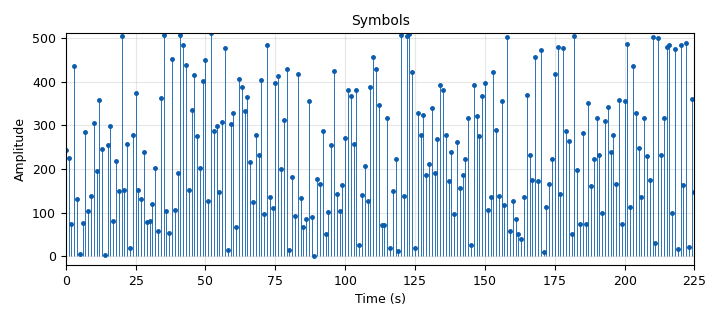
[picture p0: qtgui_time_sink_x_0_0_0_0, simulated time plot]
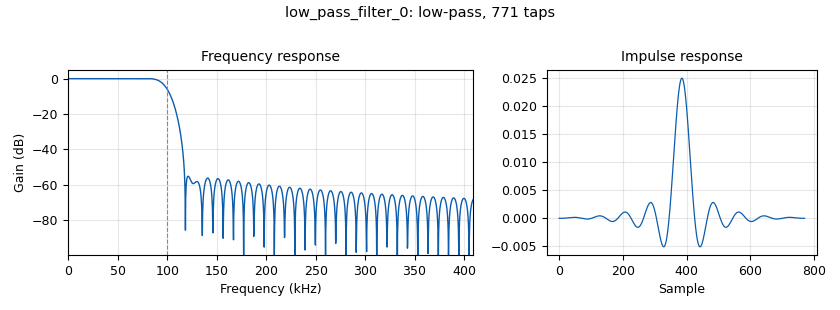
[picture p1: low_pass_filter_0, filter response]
options:
  parameters:
    generate_options: qt_gui
    id: lora_test
    output_language: python
    title: LoRa Test
  states: {}

blocks:
- name: M
  id: variable
  parameters:
    value: 2**SF
  states: {}
- name: RF_samp_rate
  id: variable
  parameters:
    value: 8e6
  states: {}
- name: SF
  id: variable
  parameters:
    value: '9'
  states: {}
- name: T
  id: variable
  parameters:
    value: float(M)/chan_bw
  states: {}
- name: chan_bw
  id: variable
  parameters:
    value: '125000'
  states: {}
- name: chan_margin
  id: variable
  parameters:
    value: '75000'
  states: {}
- name: interp
  id: variable
  parameters:
    value: '2'
  states: {}
- name: n_bytes
  id: variable
  parameters:
    value: '254'
  states: {}
- name: n_syms
  id: variable
  parameters:
    value: int(numpy.ceil((n_bytes*8.0)/SF))
  states: {}
- name: pkt0
  id: variable
  parameters:
    value: numpy.random.randint(0, M, n_syms)
  states: {}
- name: pkt1
  id: variable
  parameters:
    value: numpy.random.randint(0, M, n_syms)
  states: {}
- name: pkt1
  id: variable
  parameters:
    value: numpy.arange(0, n_syms, dtype=numpy.int16)
  states: {state: disabled}
- name: pkt2
  id: variable
  parameters:
    value: numpy.random.randint(0, M, n_syms)
  states: {}
- name: ppm
  id: variable
  parameters:
    value: '10.7'
  states: {}
- name: analog_const_source_x_0
  id: analog_const_source_x
  parameters:
    const: '241'
    type: short
  states: {state: disabled}
- name: analog_noise_source_x_0
  id: analog_noise_source_x
  parameters:
    amp: '0.1'
    noise_type: analog.GR_GAUSSIAN
    seed: '0'
    type: complex
  states: {}
- name: analog_quadrature_demod_cf_0
  id: analog_quadrature_demod_cf
  parameters:
    gain: 1.0/numpy.pi
  states: {}
- name: analog_random_source_x_0
  id: analog_random_source_x
  parameters:
    max: M-1
    min: '0'
    num_samps: 2*n_syms
    repeat: 'False'
    type: short
  states: {state: disabled}
- name: analog_sig_source_x_0
  id: analog_sig_source_x
  parameters:
    amp: '1'
    freq: 28.3/M/64+0.5
    offset: '0'
    phase: '0'
    samp_rate: '1.0'
    type: complex
    waveform: analog.GR_SIN_WAVE
  states: {}
- name: analog_sig_source_x_0_0
  id: analog_sig_source_x
  parameters:
    amp: '0.25'
    freq: '0.0'
    offset: '0'
    phase: '0'
    samp_rate: '1.0'
    type: float
    waveform: analog.GR_SAW_WAVE
  states: {}
- name: blocks_add_xx_0
  id: blocks_add_xx
  parameters:
    type: complex
  states: {}
- name: blocks_complex_to_mag_0
  id: blocks_complex_to_mag
  parameters: {}
  states: {}
- name: blocks_delay_0
  id: blocks_delay
  parameters:
    delay: '10'
    type: complex
  states: {}
- name: blocks_delay_1
  id: blocks_delay
  parameters:
    delay: interp*M
    type: complex
  states: {}
- name: blocks_delay_2
  id: blocks_delay
  parameters:
    delay: '30'
    type: complex
  states: {}
- name: blocks_multiply_const_vxx_0
  id: blocks_multiply_const_vxx
  parameters:
    const: M
    type: float
  states: {}
- name: blocks_multiply_const_vxx_1
  id: blocks_multiply_const_vxx
  parameters:
    const: '1.0'
    type: complex
  states: {}
- name: blocks_multiply_xx_0
  id: blocks_multiply_xx
  parameters:
    type: complex
  states: {}
- name: blocks_multiply_xx_0_0
  id: blocks_multiply_xx
  parameters:
    type: complex
  states: {}
- name: blocks_short_to_float_0
  id: blocks_short_to_float
  parameters:
    scale: '1'
  states: {}
- name: blocks_short_to_float_0_0
  id: blocks_short_to_float
  parameters:
    scale: '1'
  states: {}
- name: blocks_stream_to_tagged_stream_0
  id: blocks_stream_to_tagged_stream
  parameters:
    len_tag_key: packet_len
    packet_len: n_syms
    type: short
  states: {}
- name: blocks_tag_debug_0_0
  id: blocks_tag_debug
  parameters:
    name: Preamble detect
    type: complex
  states: {}
- name: blocks_tag_gate_0
  id: blocks_tag_gate
  parameters:
    propagate_tags: 'False'
    type: complex
  states: {}
- name: blocks_throttle_0
  id: blocks_throttle
  parameters:
    samples_per_second: chan_bw*interp
    type: complex
  states: {}
- name: blocks_vco_c_0
  id: blocks_vco_c
  parameters:
    amplitude: '1.0'
    samp_rate: '1.0'
    sensitivity: 1.0/(2*numpy.pi)
  states: {}
- name: blocks_vector_source_x_0_0
  id: blocks_vector_source_x
  parameters:
    repeat: 'False'
    type: short
    vector: numpy.concatenate((pkt0, pkt1,pkt2)).tolist()
  states: {}
- name: blocks_vector_source_x_0_0_0
  id: blocks_vector_source_x
  parameters:
    repeat: 'True'
    type: short
    vector: (0, M/2)
  states: {state: disabled}
- name: blocks_vector_to_stream_0
  id: blocks_vector_to_stream
  parameters:
    num_items: M
    type: complex
  states: {}
- name: channels_cfo_model_0
  id: channels_cfo_model
  parameters:
    maxdev: 1e3
    seed: '0'
    srate: 125e3
    stdev: '0.1'
  states: {}
- name: channels_distortion_2_gen_0
  id: channels_distortion_2_gen
  parameters:
    beta: '0.3'
  states: {}
- name: channels_iqbal_gen_0
  id: channels_iqbal_gen
  parameters:
    mag: '1.0'
    mode: '1'
    phase: '0.3'
  states: {}
- name: channels_sro_model_0
  id: channels_sro_model
  parameters:
    maxdev: 1e2
    seed: '0'
    srate: 125e3
    stdev: '1024.0'
  states: {}
- name: freq_xlating_fir_filter_xxx_0
  id: freq_xlating_fir_filter_xxx
  parameters:
    center_freq: '-4e6'
    decim: '1'
    samp_rate: RF_samp_rate
    taps: '1'
    type: ccc
  states: {}
- name: import_0
  id: import
  parameters:
    imports: import numpy
  states: {}
- name: lora2_css_demod_0
  id: lora2_css_demod
  parameters:
    B_cfo: '0.3'
    B_delay: '0.3'
    M: M
    interp: '4'
  states: {}
- name: lora2_css_mod_0
  id: lora2_css_mod
  parameters:
    M: M
    interp: interp
  states: {}
- name: lora2_lora_add_preamble_0
  id: lora2_lora_add_preamble
  parameters:
    len_tag_key: '"packet_len"'
    payload_tag_key: '"payload"'
    pre_len: '8'
    sync_word: '0x12'
    sync_word_tag_key: '"sync_word"'
  states: {}
- name: lora2_lora_add_reversed_chirps_0
  id: lora2_lora_add_reversed_chirps
  parameters:
    SF: SF
    interp: interp
    len_tag_key: '"packet_len"'
    payload_tag_key: '"payload"'
    rev_chirps_tag_key: '"rev_chirps"'
  states: {}
- name: lora2_lora_preamble_detect_0_0
  id: lora2_lora_preamble_detect
  parameters:
    SF: SF
    preamble_len: '8'
    thres: '1e-6'
  states: {}
- name: low_pass_filter_0
  id: low_pass_filter
  parameters:
    cutoff_freq: (chan_bw + chan_margin)/2
    decim: '64'
    gain: '1'
    samp_rate: RF_samp_rate
    type: fir_filter_ccf
    width: (chan_bw + chan_margin)/8
    win: firdes.WIN_HAMMING
  states: {}
- name: mmse_resampler_xx_0
  id: mmse_resampler_xx
  parameters:
    phase_shift: '0.0'
    resamp_ratio: (1000000 + ppm)/1000000
    type: complex
  states: {}
- name: mmse_resampler_xx_0_0
  id: mmse_resampler_xx
  parameters:
    phase_shift: '0.0'
    resamp_ratio: 1.0/32
    type: complex
  states: {}
- name: qtgui_time_sink_x_0_0
  id: qtgui_time_sink_x
  parameters:
    ctrlpanel: 'True'
    label1: ''
    marker1: '8'
    name: '"Spectrum"'
    size: n_syms*M
    srate: '1.0'
    stemplot: 'True'
    tr_mode: qtgui.TRIG_MODE_TAG
    tr_tag: '"pkt_start"'
    type: float
    ymax: M
    ymin: '-M'
  states: {}
- name: qtgui_time_sink_x_0_0_0
  id: qtgui_time_sink_x
  parameters:
    ctrlpanel: 'True'
    label1: ''
    marker1: '8'
    name: '"Symbols"'
    size: n_syms
    srate: '1.0'
    stemplot: 'True'
    tr_mode: qtgui.TRIG_MODE_TAG
    tr_tag: '"pkt_start"'
    type: float
    ymax: M
    ymin: '0'
  states: {}
- name: qtgui_time_sink_x_0_0_0_0
  id: qtgui_time_sink_x
  parameters:
    ctrlpanel: 'True'
    label1: ''
    marker1: '8'
    name: '"Symbols"'
    size: n_syms
    srate: '1.0'
    stemplot: 'True'
    tr_mode: qtgui.TRIG_MODE_TAG
    tr_tag: '"packet_len"'
    type: float
    ymax: M
    ymin: '0'
  states: {}
- name: qtgui_time_sink_x_0_0_1
  id: qtgui_time_sink_x
  parameters:
    ctrlpanel: 'True'
    label1: ''
    name: ''
    size: int((n_syms+8+2+2+0.25)*M)
    srate: '1.0'
    tr_delay: int(8+2+2+0.25+10)*M
    tr_mode: qtgui.TRIG_MODE_TAG
    tr_tag: '"time_offset"'
    type: float
  states: {}
- name: qtgui_time_sink_x_1
  id: qtgui_time_sink_x
  parameters:
    autoscale: 'True'
    ctrlpanel: 'True'
    name: '"CFO err"'
    size: n_syms
    srate: '1.0'
    tr_mode: qtgui.TRIG_MODE_TAG
    tr_tag: '"pkt_start"'
    type: float
    ymax: '1.0'
    ymin: '-1.0'
  states: {state: disabled}
- name: qtgui_time_sink_x_1_0
  id: qtgui_time_sink_x
  parameters:
    autoscale: 'True'
    ctrlpanel: 'True'
    marker1: '8'
    name: '"Delay err"'
    size: n_syms
    srate: '1.0'
    tr_mode: qtgui.TRIG_MODE_TAG
    tr_tag: '"pkt_start"'
    type: float
  states: {state: disabled}
- name: qtgui_time_sink_x_1_1
  id: qtgui_time_sink_x
  parameters:
    autoscale: 'True'
    ctrlpanel: 'True'
    label1: CFO err
    label2: Delay err
    name: '"Delay/CFO err"'
    nconnections: '2'
    size: n_syms
    srate: '1.0'
    tr_mode: qtgui.TRIG_MODE_TAG
    tr_tag: '"pkt_start"'
    type: float
    ymax: '1.0'
    ymin: '-1.0'
  states: {}
- name: virtual_sink_0
  id: virtual_sink
  parameters:
    stream_id: mod_sig
  states: {}
- name: virtual_sink_0_0
  id: virtual_sink
  parameters:
    stream_id: recvd_sig
  states: {}
- name: virtual_sink_1
  id: virtual_sink
  parameters:
    stream_id: syms
  states: {}
- name: virtual_sink_2
  id: virtual_sink
  parameters:
    stream_id: chan_1
  states: {}
- name: virtual_source_0
  id: virtual_source
  parameters:
    stream_id: chan_1
  states: {}
- name: virtual_source_1
  id: virtual_source
  parameters:
    stream_id: mod_sig
  states: {}
- name: virtual_source_1_0
  id: virtual_source
  parameters:
    stream_id: recvd_sig
  states: {}
- name: virtual_source_2
  id: virtual_source
  parameters:
    stream_id: syms
  states: {}
- name: virtual_source_2_0
  id: virtual_source
  parameters:
    stream_id: syms
  states: {}

connections:
- [analog_const_source_x_0, '0', blocks_stream_to_tagged_stream_0, '0']
- [analog_noise_source_x_0, '0', blocks_add_xx_0, '0']
- [analog_quadrature_demod_cf_0, '0', qtgui_time_sink_x_0_0_1, '0']
- [analog_random_source_x_0, '0', blocks_stream_to_tagged_stream_0, '0']
- [analog_sig_source_x_0, '0', blocks_multiply_xx_0_0, '0']
- [analog_sig_source_x_0_0, '0', blocks_vco_c_0, '0']
- [blocks_add_xx_0, '0', freq_xlating_fir_filter_xxx_0, '0']
- [blocks_complex_to_mag_0, '0', qtgui_time_sink_x_0_0, '0']
- [blocks_delay_0, '0', blocks_multiply_xx_0, '1']
- [blocks_delay_1, '0', virtual_sink_0, '0']
- [blocks_delay_2, '0', mmse_resampler_xx_0, '0']
- [blocks_multiply_const_vxx_0, '0', qtgui_time_sink_x_1, '0']
- [blocks_multiply_const_vxx_0, '0', qtgui_time_sink_x_1_1, '0']
- [blocks_multiply_const_vxx_1, '0', lora2_lora_preamble_detect_0_0, '0']
- [blocks_multiply_xx_0, '0', virtual_sink_2, '0']
- [blocks_multiply_xx_0_0, '0', blocks_delay_2, '0']
- [blocks_short_to_float_0, '0', qtgui_time_sink_x_0_0_0, '0']
- [blocks_short_to_float_0_0, '0', qtgui_time_sink_x_0_0_0_0, '0']
- [blocks_stream_to_tagged_stream_0, '0', virtual_sink_1, '0']
- [blocks_tag_gate_0, '0', blocks_multiply_const_vxx_1, '0']
- [blocks_throttle_0, '0', mmse_resampler_xx_0_0, '0']
- [blocks_vco_c_0, '0', blocks_multiply_xx_0, '0']
- [blocks_vector_source_x_0_0, '0', blocks_stream_to_tagged_stream_0, '0']
- [blocks_vector_source_x_0_0_0, '0', blocks_stream_to_tagged_stream_0, '0']
- [blocks_vector_to_stream_0, '0', blocks_complex_to_mag_0, '0']
- [channels_cfo_model_0, '0', channels_sro_model_0, '0']
- [channels_distortion_2_gen_0, '0', virtual_sink_0_0, '0']
- [channels_iqbal_gen_0, '0', channels_distortion_2_gen_0, '0']
- [channels_sro_model_0, '0', channels_iqbal_gen_0, '0']
- [freq_xlating_fir_filter_xxx_0, '0', low_pass_filter_0, '0']
- [lora2_css_demod_0, '0', blocks_short_to_float_0, '0']
- [lora2_css_demod_0, '1', blocks_vector_to_stream_0, '0']
- [lora2_css_demod_0, '2', blocks_multiply_const_vxx_0, '0']
- [lora2_css_demod_0, '3', qtgui_time_sink_x_1_0, '0']
- [lora2_css_demod_0, '3', qtgui_time_sink_x_1_1, '1']
- [lora2_css_mod_0, '0', lora2_lora_add_reversed_chirps_0, '0']
- [lora2_lora_add_preamble_0, '0', lora2_css_mod_0, '0']
- [lora2_lora_add_reversed_chirps_0, '0', blocks_delay_1, '0']
- [lora2_lora_preamble_detect_0_0, '0', analog_quadrature_demod_cf_0, '0']
- [lora2_lora_preamble_detect_0_0, '0', blocks_tag_debug_0_0, '0']
- [lora2_lora_preamble_detect_0_0, '0', lora2_css_demod_0, '0']
- [low_pass_filter_0, '0', blocks_delay_0, '0']
- [mmse_resampler_xx_0, '0', blocks_add_xx_0, '1']
- [mmse_resampler_xx_0_0, '0', blocks_multiply_xx_0_0, '1']
- [virtual_source_0, '0', channels_cfo_model_0, '0']
- [virtual_source_1, '0', blocks_throttle_0, '0']
- [virtual_source_1_0, '0', blocks_tag_gate_0, '0']
- [virtual_source_2, '0', lora2_lora_add_preamble_0, '0']
- [virtual_source_2_0, '0', blocks_short_to_float_0_0, '0']

metadata:
  file_format: 1
